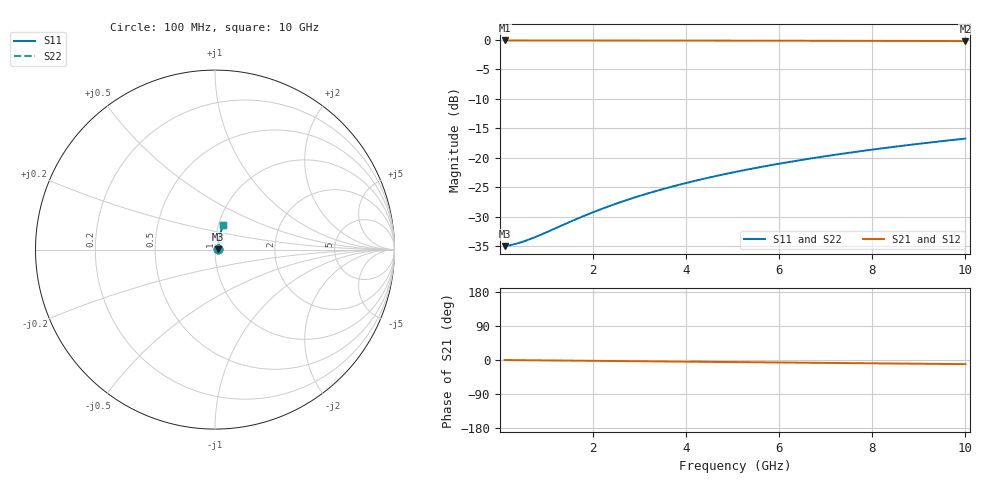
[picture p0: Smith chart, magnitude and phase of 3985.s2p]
# Hz S RI R 50.00
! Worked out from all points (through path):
!   100 points, 100 MHz to 10 GHz, reference 50 ohm
!   highest |S21| = -0.15 dB at 100 MHz (marker M1); lowest = -0.3 dB at 10 GHz (marker M2)
!   group delay of S21, straight-line fit = 3.03 ps
!   lowest |S11| = -35.0 dB at 100 MHz (marker M3), VSWR 1.04, Z = 51.8 + j0.147 ohm
!   |S11| at or under -10 dB: start of sweep to end of sweep
!   |S22| runs from -35.0 to -16.8 dB; largest |S21 - S12| = 0
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1e8  0.0177 0.00142  0.9823 -0.00188  0.9823 -0.00188  0.0177 0.00142
3e8  0.0179 0.00425  0.9821 -0.00563  0.9821 -0.00563  0.0179 0.00425
4e8  0.018 0.00567  0.982 -0.00751  0.982 -0.00751  0.018 0.00567
6e8  0.0182 0.0085  0.9818 -0.0113  0.9818 -0.0113  0.0182 0.0085
9e8  0.0184 0.0127  0.9816 -0.0169  0.9816 -0.0169  0.0184 0.0127
1.5e9  0.019 0.0212  0.981 -0.0281  0.981 -0.0281  0.019 0.0212
1.8e9  0.0193 0.0254  0.9807 -0.0337  0.9807 -0.0337  0.0193 0.0254
2.2e9  0.0198 0.0311  0.9801 -0.0412  0.9801 -0.0412  0.0198 0.0311
2.6e9  0.0204 0.0367  0.9795 -0.0487  0.9795 -0.0487  0.0204 0.0367
3e9  0.0211 0.0423  0.9788 -0.0561  0.9788 -0.0561  0.0211 0.0423
3.4e9  0.0218 0.0479  0.978 -0.0636  0.978 -0.0636  0.0218 0.0479
3.8e9  0.0227 0.0535  0.9772 -0.071  0.9772 -0.071  0.0227 0.0535
4.2e9  0.0236 0.0591  0.9762 -0.0785  0.9762 -0.0785  0.0236 0.0591
4.6e9  0.0246 0.0646  0.9752 -0.0859  0.9752 -0.0859  0.0246 0.0646
5.1e9  0.0259 0.0715  0.9738 -0.0951  0.9738 -0.0951  0.0259 0.0715
5.5e9  0.0271 0.0771  0.9726 -0.1024  0.9726 -0.1024  0.0271 0.0771
5.9e9  0.0283 0.0825  0.9713 -0.1098  0.9713 -0.1098  0.0283 0.0825
6.7e9  0.0311 0.0935  0.9684 -0.1244  0.9684 -0.1244  0.0311 0.0935
7.5e9  0.0342 0.1043  0.9652 -0.1389  0.9652 -0.1389  0.0342 0.1043
8.4e9  0.0381 0.1163  0.9612 -0.1551  0.9612 -0.1551  0.0381 0.1163
9.2e9  0.0418 0.1268  0.9572 -0.1694  0.9572 -0.1694  0.0418 0.1268
1e10  0.0459 0.1372  0.953 -0.1835  0.953 -0.1835  0.0459 0.1372
